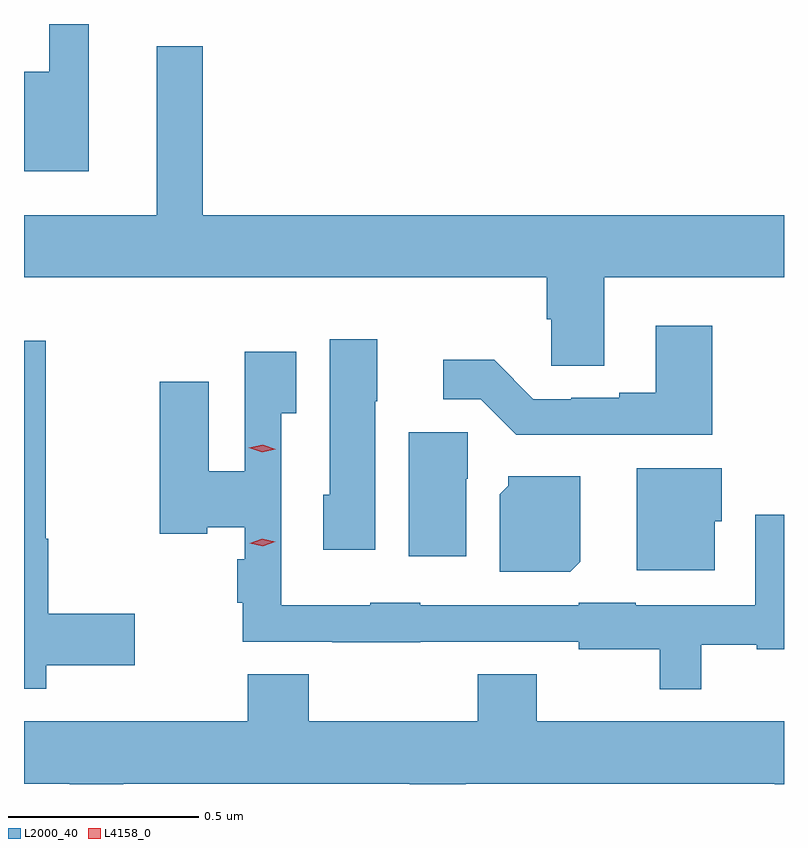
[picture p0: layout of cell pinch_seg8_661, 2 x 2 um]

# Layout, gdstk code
import gdstk
lib = gdstk.Library(unit=1e-6, precision=1e-09)
def P(c, l, *ps):  # polygons
    for p in ps: c.add(gdstk.Polygon(p, *l))
L2000_40 = (2000, 40)
L4158_0 = (4158, 0)

pinch_seg8_661 = lib.new_cell('pinch_seg8_661')
P(pinch_seg8_661, L2000_40, [(246.865,1114.503),(246.761,1114.503),(246.761,1114.378),(246.694,1114.378),(246.694,1114.115),(246.865,1114.115)],
  [(248.221,1113.836),(248.694,1113.836),(248.694,1114),(247.165,1114),(247.165,1114.444),(247.043,1114.444),(247.043,1114),(246.694,1114),(246.694,1113.836),(248.069,1113.836),(248.069,1113.726),(248.082,1113.726),(248.082,1113.604),(248.221,1113.604)],
  [(248.505,1113.709),(248.357,1113.709),(248.357,1113.532),(248.261,1113.532),(248.261,1113.519),(248.134,1113.519),(248.134,1113.516),(248.034,1113.516),(247.932,1113.619),(247.797,1113.619),(247.797,1113.516),(247.896,1113.516),(247.99,1113.422),(248.505,1113.422)],
  [(247.618,1113.51),(247.624,1113.51),(247.624,1113.673),(247.499,1113.673),(247.499,1113.264),(247.481,1113.264),(247.481,1113.12),(247.618,1113.12)],
  [(246.752,1112.816),(246.985,1112.816),(246.985,1112.951),(246.758,1112.951),(246.758,1113.148),(246.751,1113.148),(246.751,1113.67),(246.694,1113.67),(246.694,1112.754),(246.752,1112.754)],
  [(248.476,1112.87),(248.622,1112.87),(248.622,1112.858),(248.694,1112.858),(248.694,1113.211),(248.618,1113.211),(248.618,1112.974),(248.304,1112.974),(248.304,1112.98),(248.154,1112.98),(248.154,1112.973),(247.737,1112.973),(247.737,1112.98),(247.605,1112.98),(247.605,1112.974),(247.371,1112.974),(247.371,1113.479),(247.411,1113.479),(247.411,1113.64),(247.275,1113.64),(247.275,1113.326),(247.18,1113.326),(247.18,1113.562),(247.051,1113.562),(247.051,1113.161),(247.176,1113.161),(247.176,1113.179),(247.275,1113.179),(247.275,1113.095),(247.255,1113.095),(247.255,1112.98),(247.27,1112.98),(247.27,1112.877),(247.505,1112.877),(247.505,1112.876),(247.737,1112.876),(247.737,1112.877),(248.154,1112.877),(248.154,1112.858),(248.367,1112.858),(248.367,1112.753),(248.476,1112.753)],
  [(247.858,1113.306),(247.862,1113.306),(247.862,1113.429),(247.706,1113.429),(247.706,1113.102),(247.858,1113.102)],
  [(248.512,1113.195),(248.53,1113.195),(248.53,1113.334),(248.306,1113.334),(248.306,1113.065),(248.512,1113.065)],
  [(248.158,1113.088),(248.158,1113.313),(247.968,1113.313),(247.968,1113.288),(247.946,1113.266),(247.946,1113.062),(248.132,1113.062)],
  [(246.955,1112.504),(247.709,1112.504),(247.709,1112.503),(247.857,1112.503),(247.857,1112.504),(248.67,1112.504),(248.67,1112.503),(248.694,1112.503),(248.694,1112.668),(248.043,1112.668),(248.043,1112.792),(247.888,1112.792),(247.888,1112.668),(247.443,1112.668),(247.443,1112.792),(247.283,1112.792),(247.283,1112.668),(246.694,1112.668),(246.694,1112.504),(246.815,1112.504),(246.815,1112.503),(246.955,1112.503)])
P(pinch_seg8_661, L4158_0, [(247.321,1113.376),(247.286,1113.388),(247.286,1113.388),(247.286,1113.388),(247.322,1113.396),(247.357,1113.384),(247.357,1113.384),(247.357,1113.384)],
  [(247.322,1113.129),(247.288,1113.136),(247.288,1113.136),(247.288,1113.136),(247.321,1113.148),(247.355,1113.141),(247.355,1113.141),(247.355,1113.141)])

lib.write_gds('pinch_seg8_661.gds')
